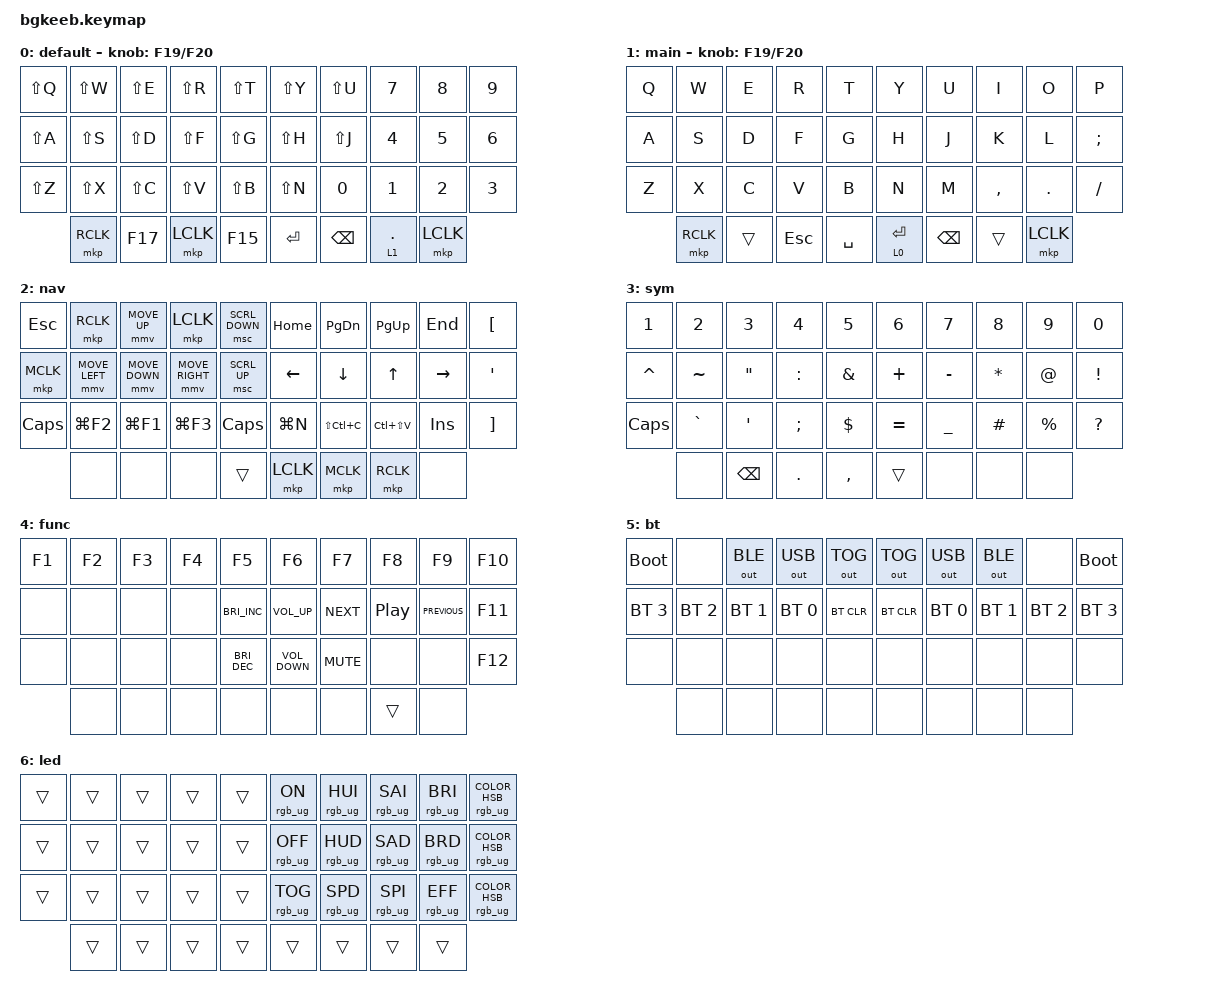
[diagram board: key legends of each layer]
// used swweeep default keymap

#define ZMK_POINTING_DEFAULT_MOVE_VAL 1500
#define ZMK_POINTING_DEFAULT_SCRL_VAL 20

#include <behaviors.dtsi>
#include <dt-bindings/zmk/bt.h>
#include <dt-bindings/zmk/keys.h>
#include <dt-bindings/zmk/outputs.h>
#include <dt-bindings/zmk/pointing.h>
#include <dt-bindings/zmk/rgb.h>

&lt { tapping-term-ms = <150>; };

&led_strip { chain-length = <18>; };

/ {
    combos {
        compatible = "zmk,combos";

        a1 {
            bindings = <&kp LEFT_PARENTHESIS>;
            key-positions = <13 12>;
        };

        a2 {
            bindings = <&kp RIGHT_PARENTHESIS>;
            key-positions = <16 17>;
        };

        b1 {
            bindings = <&kp LEFT_BRACKET>;
            key-positions = <12 11>;
        };

        b2 {
            bindings = <&kp RIGHT_BRACKET>;
            key-positions = <17 18>;
        };

        c1 {
            bindings = <&kp LEFT_BRACE>;
            key-positions = <23 22>;
        };

        c2 {
            bindings = <&kp RIGHT_BRACE>;
            key-positions = <26 27>;
        };

        d1 {
            bindings = <&kp BACKSLASH>;
            key-positions = <14 13>;
        };

        d2 {
            bindings = <&kp PIPE>;
            key-positions = <15 16>;
        };

        caps_word {
            bindings = <&caps_word>;
            key-positions = <14 15>;
        };

        e1 {
            bindings = <&kp LESS_THAN>;
            key-positions = <21 22>;
        };

        e2 {
            bindings = <&kp GREATER_THAN>;
            key-positions = <27 28>;
        };

        esq_combo {
            bindings = <&kp ESCAPE>;
            key-positions = <2 3>;
        };

        del_combo {
            bindings = <&kp DELETE>;
            key-positions = <7 6>;
        };

        rus_letter_1 {
            bindings = <&kp LEFT_BRACKET>;
            key-positions = <6 9>;
        };

        rus_letter_2 {
            bindings = <&kp SINGLE_QUOTE>;
            key-positions = <16 19>;
        };

        rus_letter_3 {
            bindings = <&kp RIGHT_BRACKET>;
            key-positions = <26 29>;
        };

        get_bt {
            bindings = <&mo 5>;
            key-positions = <31 36>;
        };

        get_bt_left {
            bindings = <&mo 6>;
            key-positions = <31 32>;
        };

        get_bt_right {
            bindings = <&mo 6>;
            key-positions = <36 35>;
        };
    };

    keymap {
        compatible = "zmk,keymap";

        default {
            bindings = <
&kp LS(Q)    &kp LS(W)    &kp LS(E)    &kp LS(R)    &kp LS(T)    &kp LS(Y)    &kp LS(U)        &kp N7       &kp N8       &kp N9
&kp LS(A)    &kp LS(S)    &kp LS(D)    &kp LS(F)    &kp LS(G)    &kp LS(H)    &kp LS(J)        &kp N4       &kp N5       &kp N6
&kp LS(Z)    &kp LS(X)    &kp LS(C)    &kp LS(V)    &kp LS(B)    &kp LS(N)    &kp N0           &kp N1       &kp N2       &kp N3
             &mkp RCLK    &kp F17      &mkp LCLK    &kp F15      &kp ENTER    &kp BACKSPACE    &lt 1 DOT    &mkp LCLK
            >;

            sensor-bindings = <&inc_dec_kp F19 F20>;
        };

        main {
            bindings = <
&kp Q    &kp W        &kp E     &kp R         &kp T        &kp Y          &kp U            &kp I        &kp O        &kp P
&kp A    &kp S        &kp D     &kp F         &kp G        &kp H          &kp J            &kp K        &kp L        &kp SEMICOLON
&kp Z    &kp X        &kp C     &kp V         &kp B        &kp N          &kp M            &kp COMMA    &kp DOT      &kp SLASH
         &mkp RCLK    &trans    &kp ESCAPE    &kp SPACE    &lt 0 ENTER    &kp BACKSPACE    &trans       &mkp LCLK
            >;

            sensor-bindings = <&inc_dec_kp F19 F20>;
        };

        nav {
            bindings = <
&kp ESC         &mkp RCLK         &mmv MOVE_UP      &mkp LCLK          &msc SCRL_DOWN    &kp HOME          &kp PAGE_DOWN     &kp PAGE_UP      &kp END            &kp LEFT_BRACKET
&mkp MCLK       &mmv MOVE_LEFT    &mmv MOVE_DOWN    &mmv MOVE_RIGHT    &msc SCRL_UP      &kp LEFT_ARROW    &kp DOWN_ARROW    &kp UP_ARROW     &kp RIGHT_ARROW    &kp SINGLE_QUOTE
&kp CAPSLOCK    &kp LG(F2)        &kp LG(F1)        &kp LG(F3)         &kp CAPSLOCK      &kp LG(N)         &kp LS(LC(C))     &kp LC(LS(V))    &kp INSERT         &kp RIGHT_BRACKET
                &none             &none             &none              &trans            &mkp LCLK         &mkp MCLK         &mkp RCLK        &none
            >;
        };

        sym {
            bindings = <
&kp NUMBER_1    &kp NUMBER_2    &kp NUMBER_3         &kp NUMBER_4     &kp NUMBER_5     &kp NUMBER_6    &kp NUMBER_7      &kp NUMBER_8    &kp NUMBER_9    &kp NUMBER_0
&kp CARET       &kp TILDE       &kp DOUBLE_QUOTES    &kp COLON        &kp AMPERSAND    &kp PLUS        &kp MINUS         &kp ASTERISK    &kp AT_SIGN     &kp EXCLAMATION
&kp CAPSLOCK    &kp GRAVE       &kp SINGLE_QUOTE     &kp SEMICOLON    &kp DOLLAR       &kp EQUAL       &kp UNDERSCORE    &kp HASH        &kp PERCENT     &kp QUESTION
                &none           &kp BACKSPACE        &kp PERIOD       &kp COMMA        &trans          &none             &none           &none
            >;
        };

        func {
            bindings = <
&kp F1    &kp F2    &kp F3    &kp F4    &kp F5                  &kp F6               &kp F7        &kp F8              &kp F9            &kp F10
&none     &none     &none     &none     &kp C_BRIGHTNESS_INC    &kp C_VOL_UP         &kp C_NEXT    &kp C_PLAY_PAUSE    &kp C_PREVIOUS    &kp F11
&none     &none     &none     &none     &kp C_BRIGHTNESS_DEC    &kp C_VOLUME_DOWN    &kp C_MUTE    &none               &none             &kp F12
          &none     &none     &none     &none                   &none                &none         &trans              &none
            >;
        };

        bt {
            bindings = <
&bootloader     &none           &out OUT_BLE    &out OUT_USB    &out OUT_TOG    &out OUT_TOG    &out OUT_USB    &out OUT_BLE    &none           &bootloader
&bt BT_SEL 3    &bt BT_SEL 2    &bt BT_SEL 1    &bt BT_SEL 0    &bt BT_CLR      &bt BT_CLR      &bt BT_SEL 0    &bt BT_SEL 1    &bt BT_SEL 2    &bt BT_SEL 3
&none           &none           &none           &none           &none           &none           &none           &none           &none           &none
                &none           &none           &none           &none           &none           &none           &none           &none
            >;
        };

        led {
            bindings = <
&trans    &trans    &trans    &trans    &trans    &rgb_ug RGB_ON     &rgb_ug RGB_HUI    &rgb_ug RGB_SAI    &rgb_ug RGB_BRI    &rgb_ug RGB_COLOR_HSB(282,100,76)
&trans    &trans    &trans    &trans    &trans    &rgb_ug RGB_OFF    &rgb_ug RGB_HUD    &rgb_ug RGB_SAD    &rgb_ug RGB_BRD    &rgb_ug RGB_COLOR_HSB(0,100,72)
&trans    &trans    &trans    &trans    &trans    &rgb_ug RGB_TOG    &rgb_ug RGB_SPD    &rgb_ug RGB_SPI    &rgb_ug RGB_EFF    &rgb_ug RGB_COLOR_HSB(155,100,54)
          &trans    &trans    &trans    &trans    &trans             &trans             &trans             &trans
            >;
        };
    };
};
